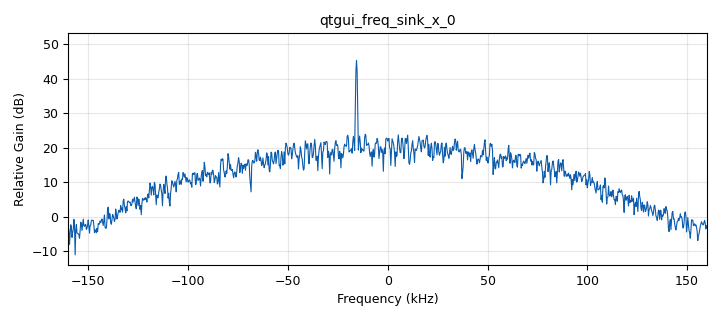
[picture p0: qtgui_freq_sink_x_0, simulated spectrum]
options:
  parameters:
    generate_options: qt_gui
    id: ex4_02
    output_language: python
    title: Figure 4.3 Detection of two targets whose time-delayed copies are summed in one signal
  states: {}

blocks:
- name: D
  id: variable_qtgui_range
  parameters:
    start: '0'
    step: '1'
    stop: '100'
    value: '50'
  states: {}
- name: D1
  id: variable_qtgui_range
  parameters:
    rangeType: int
    start: '0'
    step: '1'
    stop: '100'
    value: '50'
  states: {}
- name: N
  id: variable
  parameters:
    value: '1024'
  states: {}
- name: samp_rate
  id: variable
  parameters:
    value: '320000'
  states: {}
- name: analog_noise_source_x_0
  id: analog_noise_source_x
  parameters:
    amp: '1'
    comment: Broadband signal source
    noise_type: analog.GR_GAUSSIAN
    seed: '0'
    type: complex
  states: {}
- name: blocks_add_xx_0
  id: blocks_add_xx
  parameters:
    type: complex
  states: {}
- name: blocks_delay_0
  id: blocks_delay
  parameters:
    comment: Second delay
    delay: int(D1)
    type: complex
  states: {}
- name: blocks_delay_1
  id: blocks_delay
  parameters:
    comment: Delay
    delay: int(D)
    type: complex
  states: {}
- name: blocks_multiply_conjugate_cc_0
  id: blocks_multiply_conjugate_cc
  parameters:
    vlen: N
  states: {}
- name: blocks_stream_to_vector_0
  id: blocks_stream_to_vector
  parameters:
    num_items: N
    type: complex
  states: {}
- name: blocks_stream_to_vector_0_0
  id: blocks_stream_to_vector
  parameters:
    num_items: N
    type: complex
  states: {}
- name: blocks_throttle2_0
  id: blocks_throttle2
  parameters:
    samples_per_second: samp_rate
    type: complex
  states: {}
- name: blocks_vector_to_stream_0
  id: blocks_vector_to_stream
  parameters:
    num_items: N
    type: complex
  states: {}
- name: fft_vxx_0
  id: fft_vxx
  parameters:
    fft_size: '1024'
    forward: 'False'
    shift: 'True'
    type: complex
    window: window.blackmanharris(1024)
  states: {}
- name: fft_vxx_0_0
  id: fft_vxx
  parameters:
    fft_size: '1024'
    forward: 'False'
    shift: 'True'
    type: complex
    window: window.blackmanharris(1024)
  states: {}
- name: qtgui_freq_sink_x_0
  id: qtgui_freq_sink_x
  parameters:
    autoscale: 'True'
    average: '0.2'
    bw: samp_rate
    fc: '0'
    fftsize: '1024'
    type: complex
  states: {}

connections:
- [analog_noise_source_x_0, '0', blocks_throttle2_0, '0']
- [blocks_add_xx_0, '0', blocks_stream_to_vector_0_0, '0']
- [blocks_delay_0, '0', blocks_add_xx_0, '1']
- [blocks_delay_1, '0', blocks_add_xx_0, '0']
- [blocks_multiply_conjugate_cc_0, '0', blocks_vector_to_stream_0, '0']
- [blocks_stream_to_vector_0, '0', fft_vxx_0, '0']
- [blocks_stream_to_vector_0_0, '0', fft_vxx_0_0, '0']
- [blocks_throttle2_0, '0', blocks_delay_0, '0']
- [blocks_throttle2_0, '0', blocks_delay_1, '0']
- [blocks_throttle2_0, '0', blocks_stream_to_vector_0, '0']
- [blocks_vector_to_stream_0, '0', qtgui_freq_sink_x_0, '0']
- [fft_vxx_0, '0', blocks_multiply_conjugate_cc_0, '0']
- [fft_vxx_0_0, '0', blocks_multiply_conjugate_cc_0, '1']

metadata:
  file_format: 1
  grc_version: 3.10.9.2
